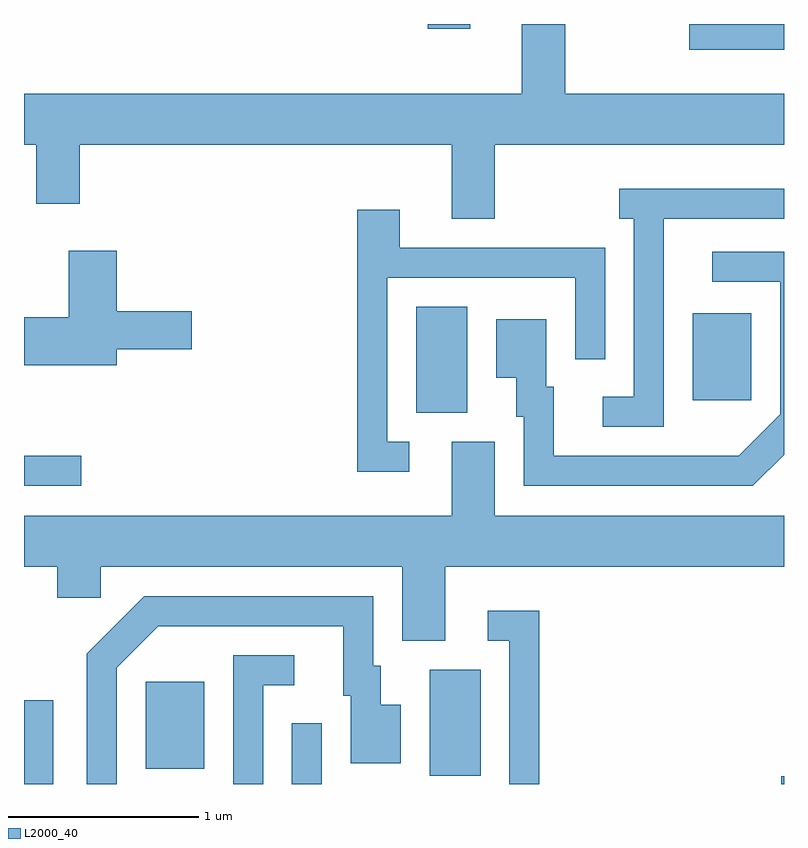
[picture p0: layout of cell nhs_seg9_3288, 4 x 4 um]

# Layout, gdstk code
import gdstk
lib = gdstk.Library(unit=1e-6, precision=1e-09)
def R(c, l, rs):  # rectangles x0, y0, x1, y1
    for r in rs: c.add(gdstk.rectangle(r[:2], r[2:], *l))
def P(c, l, *ps):  # polygons
    for p in ps: c.add(gdstk.Polygon(p, *l))
L2000_40 = (2000, 40)

nhs_seg9_3288 = lib.new_cell('nhs_seg9_3288')
R(nhs_seg9_3288, L2000_40, [(281.611,2008.432,281.764,2008.873), (283.021,2008.432,283.179,2008.753), (285.596,2008.432,285.611,2008.474), (283.746,2008.476,284.014,2009.034), (282.251,2008.511,282.559,2008.969), (281.611,2010.001,281.913,2010.159), (283.676,2010.386,283.944,2010.944), (285.131,2010.451,285.439,2010.909), (285.113,2012.296,285.611,2012.432), (283.736,2012.406,283.959,2012.432)])
P(nhs_seg9_3288, L2000_40, [(284.089,2011.796),(285.611,2011.796),(285.611,2012.064),(284.459,2012.064),(284.459,2012.432),(284.231,2012.432),(284.231,2012.064),(281.611,2012.064),(281.611,2011.796),(281.676,2011.796),(281.676,2011.486),(281.904,2011.486),(281.904,2011.796),(283.861,2011.796),(283.861,2011.406),(284.089,2011.406)],
  [(284.979,2011.406),(285.611,2011.406),(285.611,2011.564),(284.743,2011.564),(284.743,2011.406),(284.821,2011.406),(284.821,2010.469),(284.658,2010.469),(284.658,2010.311),(284.979,2010.311)],
  [(283.638,2010.234),(283.524,2010.234),(283.524,2011.096),(284.511,2011.096),(284.511,2010.668),(284.669,2010.668),(284.669,2011.254),(283.589,2011.254),(283.589,2011.454),(283.366,2011.454),(283.366,2010.076),(283.638,2010.076)],
  [(282.099,2010.721),(282.494,2010.721),(282.494,2010.919),(282.099,2010.919),(282.099,2011.239),(281.846,2011.239),(281.846,2010.889),(281.611,2010.889),(281.611,2010.636),(282.099,2010.636)],
  [(285.611,2010.166),(285.611,2011.234),(285.233,2011.234),(285.233,2011.076),(285.591,2011.076),(285.591,2010.377),(285.374,2010.159),(284.399,2010.159),(284.399,2010.524),(284.359,2010.524),(284.359,2010.879),(284.096,2010.879),(284.096,2010.571),(284.201,2010.571),(284.201,2010.366),(284.241,2010.366),(284.241,2010.001),(285.447,2010.001)],
  [(283.829,2009.576),(285.611,2009.576),(285.611,2009.844),(284.089,2009.844),(284.089,2010.234),(283.861,2010.234),(283.861,2009.844),(281.611,2009.844),(281.611,2009.576),(281.786,2009.576),(281.786,2009.411),(282.014,2009.411),(282.014,2009.576),(283.601,2009.576),(283.601,2009.186),(283.829,2009.186)],
  [(282.099,2009.044),(282.317,2009.261),(283.291,2009.261),(283.291,2008.896),(283.331,2008.896),(283.331,2008.541),(283.594,2008.541),(283.594,2008.849),(283.489,2008.849),(283.489,2009.054),(283.449,2009.054),(283.449,2009.419),(282.244,2009.419),(281.941,2009.117),(281.941,2008.432),(282.099,2008.432)],
  [(284.324,2009.344),(284.053,2009.344),(284.053,2009.186),(284.166,2009.186),(284.166,2008.432),(284.324,2008.432)],
  [(282.869,2008.951),(283.033,2008.951),(283.033,2009.109),(282.711,2009.109),(282.711,2008.432),(282.869,2008.432)])

lib.write_gds('nhs_seg9_3288.gds')
